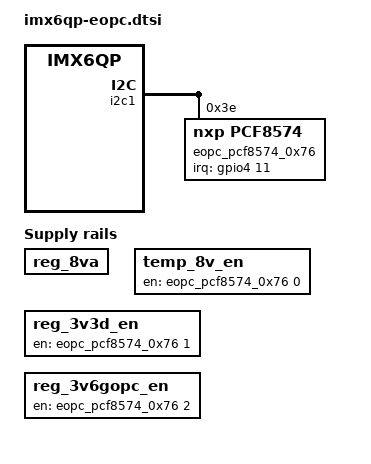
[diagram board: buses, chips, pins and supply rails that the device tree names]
/*
 * Copyright 2022 FLIR Systems.
 *
 * The code contained herein is licensed under the GNU General Public
 * License. You may obtain a copy of the GNU General Public License
 * Version 2 or later at the following locations:
 *
 * http://www.opensource.org/licenses/gpl-license.html
 * http://www.gnu.org/copyleft/gpl.html
 */

#include <dt-bindings/gpio/gpio.h>
#include <dt-bindings/input/input.h>

/ {
	regulators {
		compatible = "simple-bus";

		reg_8va: 8VA {
			 //Voltage +8VA is EXT_POWER via IC3, Surge protector
			 status = "okay";
			 compatible = "regulator-fixed";
			 regulator-name = "+8VA";
			 regulator-boot-on;
		};

		temp_8v_en: temp_8v_en { 
			status = "okay";
			compatible = "regulator-fixed";
			regulator-name = "temp_8v_en";
			gpio = <&eopc_pcf8574_0x76 0 GPIO_ACTIVE_HIGH>;
			enable-active-high;
			regulator-boot-on;
		};

		reg_3v3d_en: reg_3v3d_en { 
            status = "okay";
			compatible = "regulator-fixed";
			regulator-name = "reg_3v3d_en";
			gpio = <&eopc_pcf8574_0x76 1 GPIO_ACTIVE_HIGH>;
			enable-active-high;
			regulator-boot-on;
		};

		reg_3v6gopc_en: reg_3v6gopc_en {
            status = "okay";
			compatible = "regulator-fixed";
			regulator-name = "reg_3v6gopc_en";
			gpio = <&eopc_pcf8574_0x76 2 GPIO_ACTIVE_HIGH>;
			enable-active-high;
			regulator-boot-on;
		};
	};
};

&i2c1 {
    /* GPIO-Expander */
	eopc_pcf8574_0x76: eopc_pcf8574_0x76@3e {
		compatible = "nxp,pcf8574";
		reg = <0x3e>;
		gpio-controller;
		status = "okay";
		interrupt-parent = <&gpio4>; //I2C1_Alert_n
		interrupts = <11 IRQ_TYPE_EDGE_FALLING>;
		interrupt-controller;
		interrupts-shared;
		#interrupt-cells = <2>;
		#gpio-cells = <2>;
	};


    /*ADC ADUC834*/
    //todo

};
